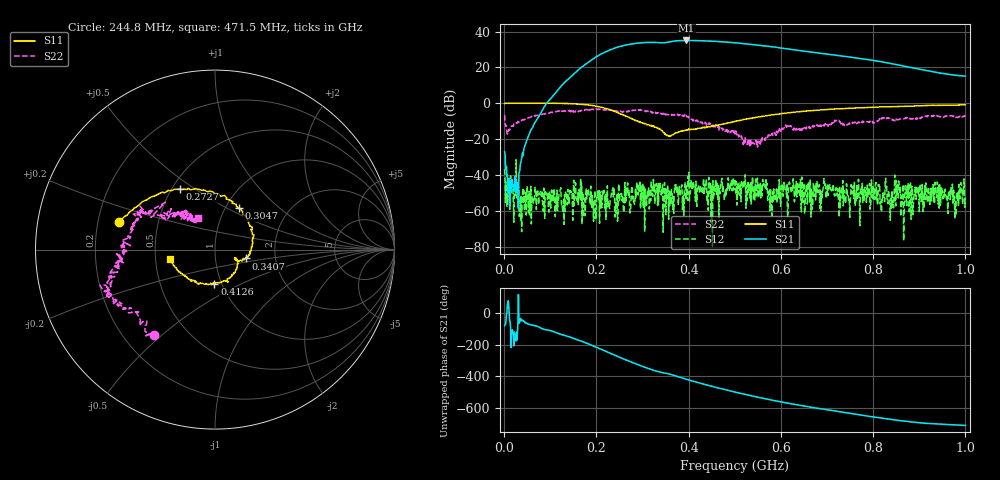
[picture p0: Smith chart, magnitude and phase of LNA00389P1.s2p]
! Created with skrf 1.9.0 (http://scikit-rf.org).
# Hz S RI R 50.0
!freq ReS11 ImS11 ReS21 ImS21 ReS12 ImS12 ReS22 ImS22
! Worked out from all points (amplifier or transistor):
!   1001 points, 1 MHz to 1 GHz, reference 50 ohm
!   highest |S21| = 35.0 dB at 394.6 MHz (marker M1)
!   |S21| within 3 dB of that: 256.3 MHz to 563.1 MHz (306.8 MHz wide, 74.9 % of centre)
!   unconditionally stable (mu >= 1): 6.534 MHz to 55.77 MHz; 248.8 MHz to 398.6 MHz; 400.7 MHz to end of sweep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
!   at 166.8 MHz: K = 1.42, MAG = 33.2 dB, |S12| = -54.1 dB
!   at 500.5 MHz: K = 1.30, MAG = 34.7 dB, |S12| = -42.2 dB
!   at 1 GHz: K = 5.84, MAG = 23.2 dB, |S12| = -52.5 dB
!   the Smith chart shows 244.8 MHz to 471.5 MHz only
!   S11 on the Smith chart (normalised r, x): 244.8 MHz: 0.29, +0.13; 272.7 MHz: 0.55, +0.44; 304.7 MHz: 1.15, +0.57; 340.7 MHz: 1.40, -0.14; 412.6 MHz: 0.92, -0.36; 471.5 MHz: 0.60, -0.07
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1000000  0.9827 0.0166  0.00922 -0.0437  -0.0109 0.00934  0.3347 0.3277
1.08892e8  0.5293 -0.8438  -0.8404 -1.569  0.00307 -0.00195  0.4181 -0.3748
1.67833e8  -0.2194 -0.9053  -10.14 -0.5002  0.002 0.00538  0.0322 -0.6353
2.1079e8  -0.6665 -0.3816  -15.7 17.85  -0.000407 -0.002  -0.2266 -0.636
2.26774e8  -0.6665 -0.1116  -10.3 27.81  -0.00146 0.000885  -0.2837 -0.5858
2.44756e8  -0.5348 0.1559  1.506 36.48  -0.00286 0.000805  -0.3396 -0.4756
2.72728e8  -0.1944 0.3365  26.43 35.79  -0.000724 -0.000471  -0.5361 -0.3106
3.04696e8  0.1316 0.2311  47.09 14.56  -0.000268 4.79e-06  -0.5737 -0.1741
3.34666e8  0.1947 -0.0106  48.21 -9.652  -0.00142 -0.000424  -0.5402 -0.0314
3.4066e8  0.1702 -0.049  46.87 -13.02  -0.00125 0.00242  -0.5075 0.00249
3.68632e8  0.1237 -0.0625  44.61 -31.05  -0.00277 0.000497  -0.4308 0.1619
3.94606e8  0.0837 -0.1578  29.14 -48.31  -0.00269 0.00415  -0.4043 0.209
4.12588e8  -0.00343 -0.1894  15.27 -53.85  0.00271 0.00399  -0.2638 0.1913
4.41559e8  -0.1412 -0.1661  -7.23 -54.21  0.00169 0.00305  -0.1622 0.2019
4.71529e8  -0.2505 -0.0519  -25.8 -44.97  0.00717 0.00152  -0.096 0.1736
5.005e8  -0.2975 0.0946  -37.85 -30.69  -0.000251 0.00777  -0.0828 0.1386
5.4046e8  -0.2419 0.309  -41.93 -9.611  0.00166 0.00131  -0.0748 0.00517
5.88412e8  -0.0571 0.4816  -34.94 10.51  0.00262 0.000271  -0.1334 -0.0502
6.67333e8  0.312 0.5353  -13.98 22.39  -0.00101 -0.0004  -0.2298 -0.00363
7.55245e8  0.6235 0.3774  2.755 18.74  -0.00287 -0.000782  -0.284 0.0652
8.34166e8  0.7829 0.155  8.943 9.64  0.000549 0.00275  -0.3716 0.0772
1e9  0.8184 -0.3789  5.679 0.6804  0.000823 -0.00224  -0.17 0.413
